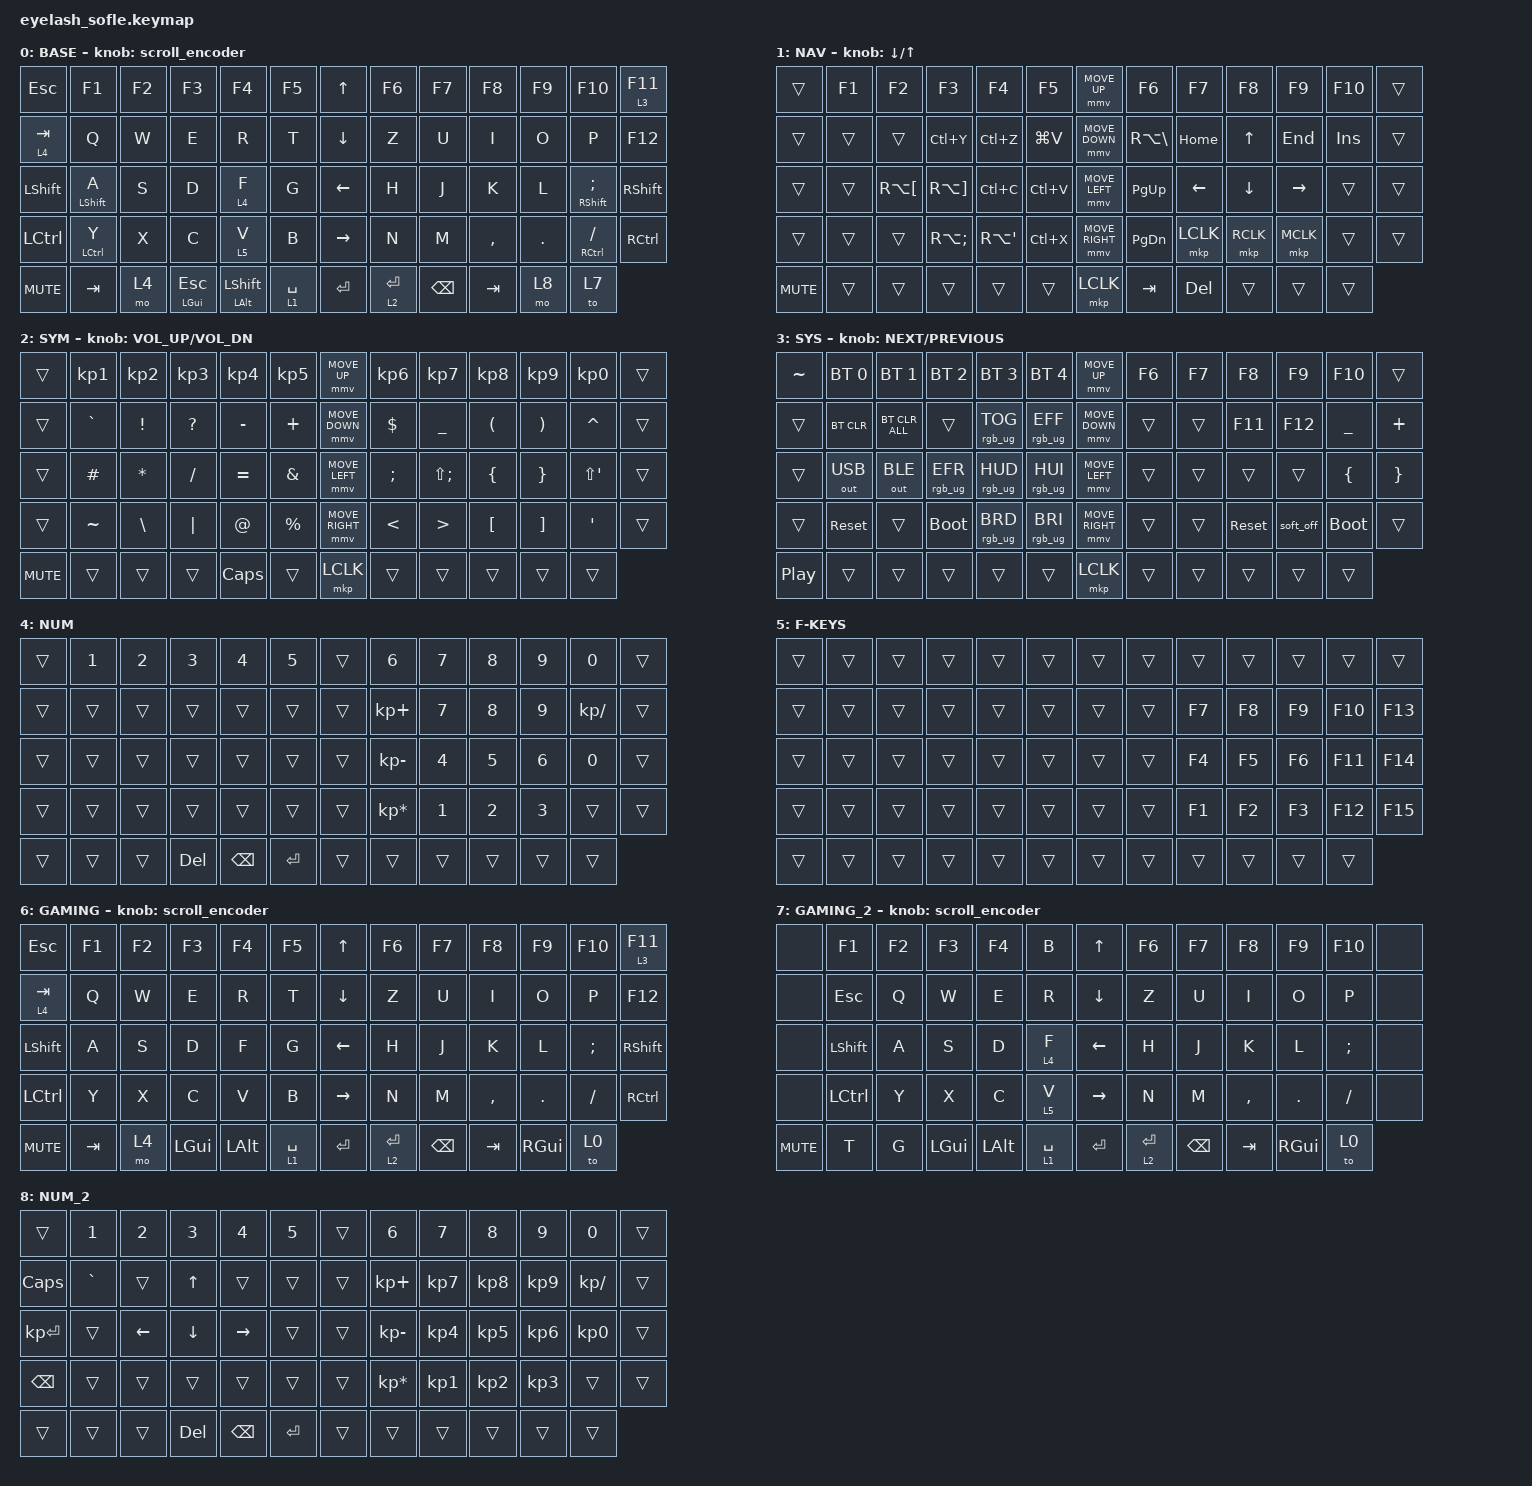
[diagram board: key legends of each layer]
#define ZMK_POINTING_DEFAULT_MOVE_VAL 1200  // 600
#define ZMK_POINTING_DEFAULT_SCRL_VAL 35    // 10

#include <input/processors.dtsi>
#include <zephyr/dt-bindings/input/input-event-codes.h>
#include <behaviors.dtsi>
#include <dt-bindings/zmk/bt.h>
#include <dt-bindings/zmk/keys.h>
#include <dt-bindings/zmk/outputs.h>
#include <dt-bindings/zmk/pointing.h>
#include <dt-bindings/zmk/rgb.h>

/ {
    zip_scroll_scaler: zip_scroll_scaler {
        compatible = "zmk,input-processor-scaler";
        #input-processor-cells = <2>;
        type = <INPUT_EV_REL>;
        codes = <INPUT_REL_WHEEL INPUT_REL_HWHEEL>;
        track-remainders;
    };
};

&mmv_input_listener { input-processors = <&zip_xy_scaler 2 1>; };

&msc_input_listener { input-processors = <&zip_scroll_scaler 2 1>; };

&msc {
    acceleration-exponent = <0>;      // 0
    time-to-max-speed-ms = <0>;       // 300
    delay-ms = <0>;                   // 0
};

&mmv {
    time-to-max-speed-ms = <400>;
    acceleration-exponent = <1>;
};

/ {
    scroll_encoder: scroll_encoder {
        compatible = "zmk,behavior-sensor-rotate";
        #sensor-binding-cells = <0>;
        bindings = <&msc SCRL_DOWN>, <&msc SCRL_UP>;

        tap-ms = <100>;
    };

    macros {
        shift_MB3: shift_MB3 {
            compatible = "zmk,behavior-macro";
            #binding-cells = <0>;
            bindings =
                <&macro_press>,
                <&kp LEFT_SHIFT>,
                <&macro_press>,
                <&mkp MB3>,
                <&macro_pause_for_release>,
                <&macro_release>,
                <&mkp MB3 &kp LEFT_SHIFT>;

            label = "SHIFT_MB3";
        };
    };

    behaviors {
        hm: home_row_mod {
            compatible = "zmk,behavior-hold-tap";
            #binding-cells = <2>;
            flavor = "tap-preferred";
            tapping-term-ms = <190>;
            quick-tap-ms = <175>;
            require-prior-idle-ms = <0>;
            bindings = <&kp>, <&kp>;
        };

        of: one_off {
            compatible = "zmk,behavior-sticky-key";
            label = "One Off";
            bindings = <&kp>;
            #binding-cells = <1>;
            release-after-ms = <2000>;
            quick-release;
            ignore-modifiers;
        };

        sticky_tap: sticky_tap {
            compatible = "zmk,behavior-hold-tap";
            label = "STICKY_TAP";
            bindings = <&kp>, <&of>;

            #binding-cells = <2>;
            tapping-term-ms = <160>;
            quick-tap-ms = <175>;
            require-prior-idle-ms = <0>;
            flavor = "tap-preferred";
        };
    };

    combos { compatible = "zmk,combos"; };

    keymap {
        compatible = "zmk,keymap";

        layer_0 {
            bindings = <
&kp ESC         &kp F1            &kp F2  &kp F3               &kp F4                           &kp F5         &kp UP_ARROW     &kp F6       &kp F7         &kp F8     &kp F9   &kp F10                    &lt 3 F11
&lt 4 TAB       &kp Q             &kp W   &kp E                &kp R                            &kp T          &kp DOWN_ARROW   &kp Z        &kp U          &kp I      &kp O    &kp P                      &kp F12
&kp LEFT_SHIFT  &hm LEFT_SHIFT A  &kp S   &kp D                &lt 4 F                          &kp G          &kp LEFT_ARROW   &kp H        &kp J          &kp K      &kp L    &hm RIGHT_SHIFT SEMICOLON  &kp RIGHT_SHIFT
&kp LCTRL       &hm LCTRL Y       &kp X   &kp C                &lt 5 V                          &kp B          &kp RIGHT_ARROW  &kp N        &kp M          &kp COMMA  &kp DOT  &hm RCTRL SLASH            &kp RCTRL
&kp C_MUTE      &kp TAB           &mo 4   &mt LEFT_GUI ESCAPE  &sticky_tap LEFT_ALT LEFT_SHIFT  &lt 1 SPACE    &kp ENTER        &lt 2 ENTER  &kp BACKSPACE  &kp TAB    &mo 8    &to 7
            >;

            sensor-bindings = <&scroll_encoder>;
            display-name = "BASE";
        };

        layer_1 {
            bindings = <
&trans      &kp F1  &kp F2                &kp F3                 &kp F4        &kp F5       &mmv MOVE_UP     &kp F6             &kp F7      &kp F8     &kp F9     &kp F10     &trans
&trans      &trans  &trans                &kp LC(Y)              &kp LC(Z)     &kp LG(V)    &mmv MOVE_DOWN   &kp RA(BACKSLASH)  &kp HOME    &kp UP     &kp END    &kp INSERT  &trans
&trans      &trans  &kp RA(LEFT_BRACKET)  &kp RA(RIGHT_BRACKET)  &kp LC(C)     &kp LC(V)    &mmv MOVE_LEFT   &kp PAGE_UP        &kp LEFT    &kp DOWN   &kp RIGHT  &trans      &trans
&trans      &trans  &trans                &kp RA(SEMI)           &kp RA(APOS)  &kp LC(X)    &mmv MOVE_RIGHT  &kp PAGE_DOWN      &mkp LCLK   &mkp RCLK  &mkp MCLK  &trans      &trans
&kp C_MUTE  &trans  &trans                &trans                 &trans        &trans       &mkp LCLK        &kp TAB            &kp DELETE  &trans     &trans     &trans
            >;

            display-name = "NAV";
            sensor-bindings = <&inc_dec_kp DOWN_ARROW UP_ARROW>;
        };

        layer_2 {
            bindings = <
&trans      &kp KP_NUMBER_1  &kp KP_NUMBER_2  &kp KP_NUMBER_3  &kp KP_NUMBER_4  &kp KP_NUMBER_5    &mmv MOVE_UP     &kp KP_NUMBER_6  &kp KP_NUMBER_7    &kp KP_NUMBER_8       &kp KP_NUMBER_9        &kp KP_NUMBER_0     &trans
&trans      &kp GRAVE        &kp EXCLAMATION  &kp QUESTION     &kp MINUS        &kp PLUS           &mmv MOVE_DOWN   &kp DOLLAR       &kp UNDER          &kp LEFT_PARENTHESIS  &kp RIGHT_PARENTHESIS  &kp CARET           &trans
&trans      &kp HASH         &kp ASTERISK     &kp SLASH        &kp EQUAL        &kp AMPERSAND      &mmv MOVE_LEFT   &kp SEMICOLON    &kp LS(SEMICOLON)  &kp LEFT_BRACE        &kp RIGHT_BRACE        &kp LS(APOSTROPHE)  &trans
&trans      &kp TILDE        &kp BACKSLASH    &kp PIPE         &kp AT_SIGN      &kp PERCENT        &mmv MOVE_RIGHT  &kp LESS_THAN    &kp GREATER_THAN   &kp LEFT_BRACKET      &kp RIGHT_BRACKET      &kp APOSTROPHE      &trans
&kp C_MUTE  &trans           &trans           &trans           &kp CAPSLOCK     &trans             &mkp LCLK        &trans           &trans             &trans                &trans                 &trans
            >;

            sensor-bindings = <&inc_dec_kp C_VOLUME_UP C_VOL_DN>;
            label = "SYM";
        };

        layer_4 {
            bindings = <
&kp TILDE         &bt BT_SEL 0  &bt BT_SEL 1    &bt BT_SEL 2     &bt BT_SEL 3     &bt BT_SEL 4       &mmv MOVE_UP     &kp F6  &kp F7  &kp F8      &kp F9     &kp F10      &trans
&trans            &bt BT_CLR    &bt BT_CLR_ALL  &trans           &rgb_ug RGB_TOG  &rgb_ug RGB_EFF    &mmv MOVE_DOWN   &trans  &trans  &kp F11     &kp F12    &kp UNDER    &kp PLUS
&trans            &out OUT_USB  &out OUT_BLE    &rgb_ug RGB_EFR  &rgb_ug RGB_HUD  &rgb_ug RGB_HUI    &mmv MOVE_LEFT   &trans  &trans  &trans      &trans     &kp LBRC     &kp RBRC
&trans            &sys_reset    &trans          &bootloader      &rgb_ug RGB_BRD  &rgb_ug RGB_BRI    &mmv MOVE_RIGHT  &trans  &trans  &sys_reset  &soft_off  &bootloader  &trans
&kp C_PLAY_PAUSE  &trans        &trans          &trans           &trans           &trans             &mkp LCLK        &trans  &trans  &trans      &trans     &trans
            >;

            sensor-bindings = <&inc_dec_kp C_NEXT C_PREVIOUS>;
            label = "SYS";
        };

        layer_5 {
            label = "NUM";
            bindings = <
&trans  &kp NUMBER_1  &kp NUMBER_2  &kp NUMBER_3  &kp NUMBER_4   &kp N5       &trans  &kp NUMBER_6     &kp N7        &kp N8        &kp N9        &kp N0        &trans
&trans  &trans        &trans        &trans        &trans         &trans       &trans  &kp KP_PLUS      &kp N7        &kp N8        &kp N9        &kp KP_SLASH  &trans
&trans  &trans        &trans        &trans        &trans         &trans       &trans  &kp KP_MINUS     &kp NUMBER_4  &kp N5        &kp NUMBER_6  &kp N0        &trans
&trans  &trans        &trans        &trans        &trans         &trans       &trans  &kp KP_MULTIPLY  &kp NUMBER_1  &kp NUMBER_2  &kp NUMBER_3  &trans        &trans
&trans  &trans        &trans        &kp DELETE    &kp BACKSPACE  &kp ENTER    &trans  &trans           &trans        &trans        &trans        &trans
            >;
        };

        layer_6 {
            label = "F-KEYS";
            bindings = <
&trans  &trans  &trans  &trans  &trans  &trans    &trans  &trans  &trans  &trans  &trans  &trans   &trans
&trans  &trans  &trans  &trans  &trans  &trans    &trans  &trans  &kp F7  &kp F8  &kp F9  &kp F10  &kp F13
&trans  &trans  &trans  &trans  &trans  &trans    &trans  &trans  &kp F4  &kp F5  &kp F6  &kp F11  &kp F14
&trans  &trans  &trans  &trans  &trans  &trans    &trans  &trans  &kp F1  &kp F2  &kp F3  &kp F12  &kp F15
&trans  &trans  &trans  &trans  &trans  &trans    &trans  &trans  &trans  &trans  &trans  &trans
            >;
        };

        layer_7 {
            display-name = "GAMING";
            bindings = <
&kp ESC         &kp F1   &kp F2  &kp F3        &kp F4        &kp F5         &kp UP_ARROW     &kp F6       &kp F7         &kp F8     &kp F9         &kp F10        &lt 3 F11
&lt 4 TAB       &kp Q    &kp W   &kp E         &kp R         &kp T          &kp DOWN_ARROW   &kp Z        &kp U          &kp I      &kp O          &kp P          &kp F12
&kp LEFT_SHIFT  &kp A    &kp S   &kp D         &kp F         &kp G          &kp LEFT_ARROW   &kp H        &kp J          &kp K      &kp L          &kp SEMICOLON  &kp RIGHT_SHIFT
&kp LCTRL       &kp Y    &kp X   &kp C         &kp V         &kp B          &kp RIGHT_ARROW  &kp N        &kp M          &kp COMMA  &kp DOT        &kp SLASH      &kp RCTRL
&kp C_MUTE      &kp TAB  &mo 4   &kp LEFT_GUI  &kp LEFT_ALT  &lt 1 SPACE    &kp ENTER        &lt 2 ENTER  &kp BACKSPACE  &kp TAB    &kp RIGHT_GUI  &to 0
            >;

            sensor-bindings = <&scroll_encoder>;
        };

        layer_8 {
            display-name = "GAMING_2";
            bindings = <
&none       &kp F1          &kp F2  &kp F3        &kp F4        &kp B          &kp UP_ARROW     &kp F6       &kp F7         &kp F8     &kp F9         &kp F10        &none
&none       &kp ESCAPE      &kp Q   &kp W         &kp E         &kp R          &kp DOWN_ARROW   &kp Z        &kp U          &kp I      &kp O          &kp P          &none
&none       &kp LEFT_SHIFT  &kp A   &kp S         &kp D         &lt 4 F        &kp LEFT_ARROW   &kp H        &kp J          &kp K      &kp L          &kp SEMICOLON  &none
&none       &kp LCTRL       &kp Y   &kp X         &kp C         &lt 5 V        &kp RIGHT_ARROW  &kp N        &kp M          &kp COMMA  &kp DOT        &kp SLASH      &none
&kp C_MUTE  &kp T           &kp G   &kp LEFT_GUI  &kp LEFT_ALT  &lt 1 SPACE    &kp ENTER        &lt 2 ENTER  &kp BACKSPACE  &kp TAB    &kp RIGHT_GUI  &to 0
            >;

            sensor-bindings = <&scroll_encoder>;
        };

        layer_9 {
            label = "NUM_2";
            bindings = <
&trans         &kp NUMBER_1  &kp NUMBER_2    &kp NUMBER_3    &kp NUMBER_4     &kp N5       &trans  &kp NUMBER_6     &kp N7           &kp N8           &kp N9           &kp N0           &trans
&kp CAPSLOCK   &kp GRAVE     &trans          &kp UP_ARROW    &trans           &trans       &trans  &kp KP_PLUS      &kp KP_NUMBER_7  &kp KP_NUMBER_8  &kp KP_NUMBER_9  &kp KP_SLASH     &trans
&kp KP_ENTER   &trans        &kp LEFT_ARROW  &kp DOWN_ARROW  &kp RIGHT_ARROW  &trans       &trans  &kp KP_MINUS     &kp KP_NUMBER_4  &kp KP_NUMBER_5  &kp KP_NUMBER_6  &kp KP_NUMBER_0  &trans
&kp BACKSPACE  &trans        &trans          &trans          &trans           &trans       &trans  &kp KP_MULTIPLY  &kp KP_NUMBER_1  &kp KP_NUMBER_2  &kp KP_NUMBER_3  &trans           &trans
&trans         &trans        &trans          &kp DELETE      &kp BACKSPACE    &kp ENTER    &trans  &trans           &trans           &trans           &trans           &trans
            >;
        };
    };
};
